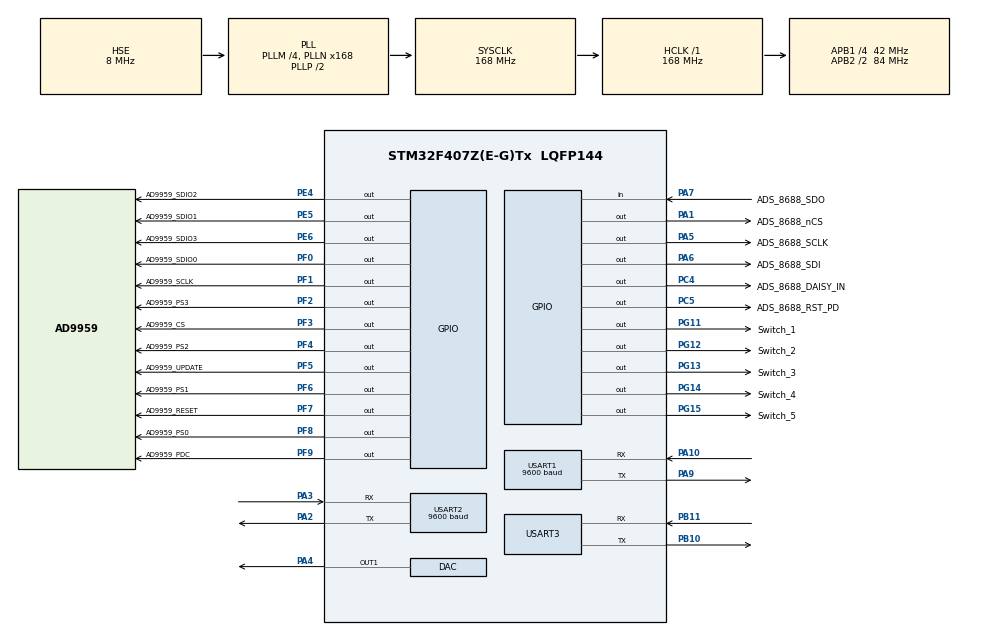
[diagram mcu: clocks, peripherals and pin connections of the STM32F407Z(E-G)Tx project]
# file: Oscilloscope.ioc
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DAC.DAC_OutputBuffer=DAC_OUTPUTBUFFER_DISABLE
Mcu.Family=STM32F4
Mcu.Name=STM32F407Z(E-G)Tx
Mcu.Package=LQFP144
NVIC.PriorityGroup=NVIC_PRIORITYGROUP_4
NVIC.TIM4_IRQn=true\:0\:0\:false\:false\:true\:true\:true\:true
NVIC.USART2_IRQn=true\:0\:0\:false\:false\:true\:true\:true\:true
PA1.GPIO_Label=ADS_8688_nCS
PA1.Signal=GPIO_Output
PA10.Mode=Asynchronous
PA10.Signal=USART1_RX
PA13.Mode=Serial_Wire
PA13.Signal=SYS_JTMS-SWDIO
PA14.Mode=Serial_Wire
PA14.Signal=SYS_JTCK-SWCLK
PA2.Mode=Asynchronous
PA2.Signal=USART2_TX
PA3.Mode=Asynchronous
PA3.Signal=USART2_RX
PA4.Signal=COMP_DAC1_group
PA5.GPIO_Label=ADS_8688_SCLK
PA5.Signal=GPIO_Output
PA6.GPIO_Label=ADS_8688_SDI
PA6.Signal=GPIO_Output
PA7.GPIO_Label=ADS_8688_SDO
PA7.Signal=GPIO_Input
PA9.Mode=Asynchronous
PA9.Signal=USART1_TX
PB10.Mode=Asynchronous
PB10.Signal=USART3_TX
PB11.Mode=Asynchronous
PB11.Signal=USART3_RX
PC14-OSC32_IN.Mode=LSE-External-Oscillator
PC14-OSC32_IN.Signal=RCC_OSC32_IN
PC15-OSC32_OUT.Mode=LSE-External-Oscillator
PC15-OSC32_OUT.Signal=RCC_OSC32_OUT
PC4.GPIO_Label=ADS_8688_DAISY_IN
PC4.Signal=GPIO_Output
PC5.GPIO_Label=ADS_8688_RST_PD
PC5.Signal=GPIO_Output
PE4.GPIO_Label=AD9959_SDIO2
PE4.GPIO_Speed=GPIO_SPEED_FREQ_HIGH
PE4.PinState=GPIO_PIN_SET
PE4.Signal=GPIO_Output
PE5.GPIO_Label=AD9959_SDIO1
PE5.GPIO_Speed=GPIO_SPEED_FREQ_HIGH
PE5.Signal=GPIO_Output
PE6.GPIO_Label=AD9959_SDIO3
PE6.GPIO_Speed=GPIO_SPEED_FREQ_HIGH
PE6.Signal=GPIO_Output
PF0.GPIO_Label=AD9959_SDIO0
PF0.GPIO_Speed=GPIO_SPEED_FREQ_HIGH
PF0.Signal=GPIO_Output
PF1.GPIO_Label=AD9959_SCLK
PF1.GPIO_Speed=GPIO_SPEED_FREQ_HIGH
PF1.Signal=GPIO_Output
PF2.GPIO_Label=AD9959_PS3
PF2.GPIO_Speed=GPIO_SPEED_FREQ_HIGH
PF2.Signal=GPIO_Output
PF3.GPIO_Label=AD9959_CS
PF3.GPIO_Speed=GPIO_SPEED_FREQ_HIGH
PF3.Signal=GPIO_Output
PF4.GPIO_Label=AD9959_PS2
PF4.GPIO_Speed=GPIO_SPEED_FREQ_HIGH
PF4.Signal=GPIO_Output
PF5.GPIO_Label=AD9959_UPDATE
PF5.GPIO_Speed=GPIO_SPEED_FREQ_HIGH
PF5.Signal=GPIO_Output
PF6.GPIO_Label=AD9959_PS1
PF6.GPIO_Speed=GPIO_SPEED_FREQ_HIGH
PF6.Signal=GPIO_Output
PF7.GPIO_Label=AD9959_RESET
PF7.GPIO_Speed=GPIO_SPEED_FREQ_HIGH
PF7.Signal=GPIO_Output
PF8.GPIO_Label=AD9959_PS0
PF8.GPIO_Speed=GPIO_SPEED_FREQ_HIGH
PF8.Signal=GPIO_Output
PF9.GPIO_Label=AD9959_PDC
PF9.GPIO_Speed=GPIO_SPEED_FREQ_HIGH
PF9.Signal=GPIO_Output
PG11.GPIO_Label=Switch_1
PG11.PinState=GPIO_PIN_SET
PG11.Signal=GPIO_Output
PG12.GPIO_Label=Switch_2
PG12.PinState=GPIO_PIN_RESET
PG12.Signal=GPIO_Output
PG13.GPIO_Label=Switch_3
PG13.PinState=GPIO_PIN_SET
PG13.Signal=GPIO_Output
PG14.GPIO_Label=Switch_4
PG14.Signal=GPIO_Output
PG15.GPIO_Label=Switch_5
PG15.Signal=GPIO_Output
PH0-OSC_IN.Mode=HSE-External-Oscillator
PH0-OSC_IN.Signal=RCC_OSC_IN
PH1-OSC_OUT.Mode=HSE-External-Oscillator
PH1-OSC_OUT.Signal=RCC_OSC_OUT
ProjectManager.HeapSize=0x200
ProjectManager.StackSize=0x400
ProjectManager.TargetToolchain=MDK-ARM V5.32
RCC.48MHZClocksFreq_Value=84000000
RCC.AHBFreq_Value=168000000
RCC.APB1CLKDivider=RCC_HCLK_DIV4
RCC.APB1Freq_Value=42000000
RCC.APB1TimFreq_Value=84000000
RCC.APB2CLKDivider=RCC_HCLK_DIV2
RCC.APB2Freq_Value=84000000
RCC.APB2TimFreq_Value=168000000
RCC.CortexFreq_Value=168000000
RCC.HCLKFreq_Value=168000000
RCC.HSE_VALUE=8000000
RCC.HSI_VALUE=16000000
RCC.PLLM=4
RCC.PLLN=168
RCC.PLLSourceVirtual=RCC_PLLSOURCE_HSE
RCC.SYSCLKFreq_VALUE=168000000
RCC.SYSCLKSource=RCC_SYSCLKSOURCE_PLLCLK
RCC.VCOOutputFreq_Value=336000000
SH.COMP_DAC1_group.0=DAC_OUT1,DAC_OUT1
STMicroelectronics.X-CUBE-ALGOBUILD.1.3.0.LibraryCcDSPOoLibraryJjDSPOoLibrary=true
TIM4.AutoReloadPreload=TIM_AUTORELOAD_PRELOAD_ENABLE
TIM4.Period=100-1
TIM4.Prescaler=82-1
USART1.BaudRate=9600
USART1.Mode=MODE_TX
USART1.VirtualMode=VM_ASYNC
USART2.BaudRate=9600
USART2.Mode=MODE_RX
USART2.VirtualMode=VM_ASYNC
USART3.VirtualMode=VM_ASYNC
VP_STMicroelectronics.X-CUBE-ALGOBUILD_VS_DSPOoLibraryJjLibrary_1.3.0_1.3.0.Mode=DSPOoLibraryJjLibrary
VP_TIM4_VS_ClockSourceINT.Mode=Internal
board=custom

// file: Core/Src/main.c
/* USER CODE BEGIN Header */
/**
  ******************************************************************************
  * @file           : main.c
  * @brief          : Main program body
  ******************************************************************************
  * @attention
  *
  * Copyright (c) 2022 STMicroelectronics.
  * All rights reserved.
  *
  * This software is licensed under terms that can be found in the LICENSE file
  * in the root directory of this software component.
  * If no LICENSE file comes with this software, it is provided AS-IS.
  *
  ******************************************************************************
  */
/* USER CODE END Header */
#include "main.h"
#include "dac.h"
#include "tim.h"
#include "usart.h"
#include "gpio.h"

/* USER CODE BEGIN Includes */
#include "arm_math.h"
#include "Filter.h"
#include "ADS8688.H"
#include "head_define.h"
#include "hmi_driver.h"
#include "hmi_user_uart.h"
#include "cmd_queue.h"
#include "cmd_process.h"
#include "stdio.h"
#include "base.h"
#include "Wifi.h"
#include "MAX262.h"
#include "AD9959.h"
/* USER CODE END Includes */

/* USER CODE BEGIN PV */
float sweep_points[21] = {0,};
float
AD_arr[2][AD_N],
*pAD_arr,*pAD_arr_end,

FFT_result[2][AD_N],
FFT_INPUT[AD_N],
AD_arr_c[2][AD_N*2]={0,},
*pAD_arr_c,*pAD_arr_c_end,
FFT_result_c[2][AD_N];
u16 ad_result[8];
u8 dataGraph[AD_N],
*pDataGraph;

extern my_Filter my_Filter1;

enum Sample_Rate{  //采样率
K200 = 200000,K400 = 400000,K800 = 800000,K1000 = 1000000

};

enum Sample_State{ //采样状态
OK=1,NO = !OK
};

u32 ctrl_dac[7] = {265,400,548,690,845,1041,1900};	//控制放大器增益

float hp_arr[50]=
{
0.088,0.176,0.267,0.348,0.440,0.530,0.620,0.710,0.800,0.880,0.990,1.07,1.15,1.25,1.35,1.45,1.55,1.58,1.68,1.80,1.91,1.98,2.03,2.11,2.21,2.30,\
2.45,2.50,2.65,2.75,2.85,2.95,3.05,3.15,3.25,3.35,3.45,3.55,3.56,3.75,3.85,3.95,4.05,4.15,4.23,4.45,4.55,4.65,4.78,4.88	};  //高通数组
/* USER CODE END PV */

void SystemClock_Config(void);
/* USER CODE BEGIN PFP */

void getAD_allch(float*result){
	Get_AUTO_RST_Mode_Data((uint16_t*)ad_result,8);  //两个通道
	*result=(ad_result[0]-ADS8688_ZERO)*AD_mV_Scale;
	result+=AD_N;
	*result=(ad_result[1]-ADS8688_ZERO)*AD_mV_Scale;
//	result+=AD_N;
}

void AD_arr_Init(){
	pAD_arr=AD_arr[0];pAD_arr_end=AD_arr[0]+AD_N;
	memset(AD_arr[0],0,AD_N);
	memset(AD_arr[1],0,AD_N);
}

float get_AD_result(){
	float rms;
	AD_arr_Init();
	getAD_allch(pAD_arr);
	HAL_TIM_Base_Start_IT(&htim4);
	while(pAD_arr!=pAD_arr_end){}
	HAL_TIM_Base_Stop_IT(&htim4);
	arm_mean_f32(AD_arr[0],21,&rms);
	return rms;
}

void Sweep_Freq(void)
{
	u16 i,times;
	times=(sweepfreq.end-sweepfreq.start)/sweepfreq.step+1;  //扫频点数
//	Out_freq(0,fre,1000);
	for(i=0;i<times;i++)
	{
        Out_freq(0,sweepfreq.start+(sweepfreq.step*i),800);  //输出最大530vpp
		sweep_points[i] = get_AD_result(); //采样
	//	Wifi_Send(sweep_points[i]);
	}
}

void ctrl_amplifier() //程控放大器
{
	HAL_DAC_Start(&hdac,DAC_CHANNEL_1);
	HAL_DAC_SetValue(&hdac,DAC_CHANNEL_1,DAC_ALIGN_12B_R,ctrl_dac[my_Filter1.amp_dB]);

}

void calSysPara()  //计算电路参数
{
	float max_temp,resolu,freq;
	float funWave,har_2,har_3,har_4,har_5;
	u32	max_idex;
	calc_FFT(AD_arr[0],FFT_result[0]);
	my_Filter1.resolution_fre = my_Filter1.sample_rate / my_Filter1.show_points;  	//计算分辨率
	arm_max_f32(FFT_result[0],AD_N,&max_temp,&max_idex);  	//找最大值
	freq = max_idex *resolu;
	my_Filter1.cur_fre = freq;		//当前频率
	funWave = FFT_result[0][max_idex];		//基波
	har_2 = pow((double)FFT_result[0][max_idex * 2],2); 	//二次谐波
	har_3 = pow((double)FFT_result[0][max_idex * 3],2); 	//三次谐波
	har_4 = pow((double)FFT_result[0][max_idex * 4],2); 	//四次谐波
	har_5 = pow((double)FFT_result[0][max_idex * 5],2); 	//五次谐波
	my_Filter1.THD = sqrt(har_2+har_3+har_4+har_5) / funWave;

}
void Filter_Init(void)
{
	my_Filter1.Mode = Normal;
	my_Filter1.sample_rate = K200;  	//初始采样率200k
	my_Filter1.cur_fre = 0; 		//获取到的当前频率
	my_Filter1.show_points = AD_N;  	//初始点数
	my_Filter1.cutoff_fre = 1000;  	//初始截止频率1k
	my_Filter1.filterKind = LP;  	//滤波器类型默认低通
	my_Filter1.THD = 0; 	//总谐波失真初始为0
	sweepfreq.start = 100;  	//扫频开始为100Hz
	sweepfreq.end = 200100;  	//扫频结束200100
	sweepfreq.step = 10000;		//步进10k
	sweepfreq.time = 100;		//每个点持续时间
	GraphChannelDataClear(1,3,0);
}

void setCutoff() 		//切换截止频率
{
	if(my_Filter1.filterKind == LP)
		Out_freq(1, my_Filter1.cutoff_fre * 115,500);		//输出时钟
	else if(my_Filter1.filterKind == HP &&my_Filter1.cutoff_fre/1000 <= 50)
		Out_freq(1, hp_arr[my_Filter1.cutoff_fre/1000 - 1]* 1000000,500);//hp_arr[my_Filter1.cutoff_fre/1000 - 1]
}
void showGraph()
{

	float32_t max,sweep_N;
	sweep_N = AD_N; 	//
	u32 useless;
	arm_max_f32(sweep_points,sweep_N,&max,&useless);
	if(max<1)max = 1;
	arm_scale_f32(sweep_points, 255.0f/max,sweep_points,sweep_N);//归一化
	pDataGraph = dataGraph; pAD_arr = sweep_points;

	for(int i=0;i<sweep_N;i++)
		*pDataGraph++ = *pAD_arr++;  //float->u8
//	if(my_Filter1.filterKind == LP)
//		dataGraph[0] = dataGraph[1] * 0.96;
//	else if(my_Filter1.filterKind == HP)
//		dataGraph[0] = 0;
	GraphChannelDataClear(1,3,0);
	GraphChannelDataAdd(1,3,0,dataGraph,sweep_N);

}

void Signal_or_Sweep()  //开关1切换信号源和扫频，低电平有效
{
	if(my_Filter1.Mode == Sweep)
		HAL_GPIO_WritePin(Switch_1_GPIO_Port,Switch_1_Pin,GPIO_PIN_SET) ; //高电平切换9959，扫频
	else
		HAL_GPIO_WritePin(Switch_1_GPIO_Port,Switch_1_Pin,GPIO_PIN_RESET) ;
}

void Test_or_Next() //开关2默认测试，高电平接到后级电路
{
	if(my_Filter1.filterKind != Amp)
		HAL_GPIO_WritePin(Switch_2_GPIO_Port,Switch_2_Pin,GPIO_PIN_SET) ; //高电平切换到后级
	else
		HAL_GPIO_WritePin(Switch_2_GPIO_Port,Switch_2_Pin,GPIO_PIN_RESET) ;
}

void setFilterMode() //开关3切换滤波类型，椭圆or高低通，高电平触发
{
	if(my_Filter1.filterKind == HP || my_Filter1.filterKind == LP)
		HAL_GPIO_WritePin(Switch_3_GPIO_Port,Switch_3_Pin,GPIO_PIN_SET) ; //低电平换到高低通模式
	else if(my_Filter1.filterKind ==ELL) //椭圆
		HAL_GPIO_WritePin(Switch_3_GPIO_Port,Switch_3_Pin,GPIO_PIN_RESET);

}

void Lp_or_Hp()		//开关4切换高通或低通，默认低电平高通
{
	if(my_Filter1.filterKind == LP)
		HAL_GPIO_WritePin(Switch_4_GPIO_Port,Switch_4_Pin,GPIO_PIN_SET) ; //高电平切换到低通
	else if(my_Filter1.filterKind == HP)
		HAL_GPIO_WritePin(Switch_4_GPIO_Port,Switch_4_Pin,GPIO_PIN_RESET) ; //高电平切换到后级

}

void Out_LpHp_or_epl() //开关5切换输出类型，高电平为椭圆滤波器输出
{
	if(my_Filter1.filterKind == ELL)
		HAL_GPIO_WritePin(Switch_5_GPIO_Port,Switch_5_Pin,GPIO_PIN_SET) ;
	else
		HAL_GPIO_WritePin(Switch_5_GPIO_Port,Switch_5_Pin,GPIO_PIN_RESET) ;

}
void softReset()  //软件复位
{
		HAL_NVIC_SystemReset();
}
/* USER CODE END PFP */

int main(void)
{

  /* MCU Configuration--------------------------------------------------------*/

  /* Reset of all peripherals, Initializes the Flash interface and the Systick. */
  HAL_Init();

  /* Configure the system clock */
  SystemClock_Config();

  /* Initialize all configured peripherals */
  MX_GPIO_Init();
  MX_USART1_UART_Init();
  MX_USART2_UART_Init();
  MX_USART3_UART_Init();
  MX_TIM4_Init();
  MX_DAC_Init();
  /* USER CODE BEGIN 2 */
  delay_init(168);
  Init_AD9959();		//9959初始化
  ADS8688_Init_Mult();
  Filter_Init();    //参数初始化
  TFT_Init();		//大彩屏初始化
//	Wifi_Connect();	//wifi初始化
	bee();
  /* USER CODE END 2 */

  /* Infinite loop */
while (1)
  {

    /* USER CODE BEGIN 3 */
	  switch(my_Filter1.Mode)
	  {
		  case Normal:  	//放大/滤波模式
		  {
			  if(my_Filter1.filterKind == Amp) 		//放大模式
			  {
				    ctrl_amplifier();
					Signal_or_Sweep();		//开关1
					Test_or_Next();  		//开关2
			  }
			  else  			//滤波
			  {
					setCutoff();
					Signal_or_Sweep();		//开关1
					Test_or_Next();  		//开关2
					setFilterMode();  		//开关3
					Lp_or_Hp(); 			//开关4
					Out_LpHp_or_epl();		//开关5
				  }

		   }break;
		  case Sweep:		//扫频
		  {
					Signal_or_Sweep();		//开关1
					Test_or_Next();  		//开关2
					setFilterMode();  		//开关3
					Lp_or_Hp(); 			//开关4
					Out_LpHp_or_epl();		//开关5
			  		Sweep_Freq();			//扫频输出
					showGraph();			//绘制曲线
			//GraphChannelDataAdd(2,3,0,test,21);
			}break;
		  case sysReset:
			  softReset();break;

	  }

	//  delay_ms(100);

  }
  /* USER CODE END 3 */
}

void SystemClock_Config(void)
{
  RCC_OscInitTypeDef RCC_OscInitStruct = {0};
  RCC_ClkInitTypeDef RCC_ClkInitStruct = {0};

  /** Configure the main internal regulator output voltage
  */
  __HAL_RCC_PWR_CLK_ENABLE();
  __HAL_PWR_VOLTAGESCALING_CONFIG(PWR_REGULATOR_VOLTAGE_SCALE1);

  /** Initializes the RCC Oscillators according to the specified parameters
  * in the RCC_OscInitTypeDef structure.
  */
  RCC_OscInitStruct.OscillatorType = RCC_OSCILLATORTYPE_HSE;
  RCC_OscInitStruct.HSEState = RCC_HSE_ON;
  RCC_OscInitStruct.PLL.PLLState = RCC_PLL_ON;
  RCC_OscInitStruct.PLL.PLLSource = RCC_PLLSOURCE_HSE;
  RCC_OscInitStruct.PLL.PLLM = 4;
  RCC_OscInitStruct.PLL.PLLN = 168;
  RCC_OscInitStruct.PLL.PLLP = RCC_PLLP_DIV2;
  RCC_OscInitStruct.PLL.PLLQ = 4;
  if (HAL_RCC_OscConfig(&RCC_OscInitStruct) != HAL_OK)
  {
    Error_Handler();
  }

  /** Initializes the CPU, AHB and APB buses clocks
  */
  RCC_ClkInitStruct.ClockType = RCC_CLOCKTYPE_HCLK|RCC_CLOCKTYPE_SYSCLK
                              |RCC_CLOCKTYPE_PCLK1|RCC_CLOCKTYPE_PCLK2;
  RCC_ClkInitStruct.SYSCLKSource = RCC_SYSCLKSOURCE_PLLCLK;
  RCC_ClkInitStruct.AHBCLKDivider = RCC_SYSCLK_DIV1;
  RCC_ClkInitStruct.APB1CLKDivider = RCC_HCLK_DIV4;
  RCC_ClkInitStruct.APB2CLKDivider = RCC_HCLK_DIV2;

  if (HAL_RCC_ClockConfig(&RCC_ClkInitStruct, FLASH_LATENCY_5) != HAL_OK)
  {
    Error_Handler();
  }
}

/* USER CODE BEGIN 4 */
void HAL_TIM_PeriodElapsedCallback(TIM_HandleTypeDef *htim){
	if(htim == &htim4){
		if(pAD_arr < pAD_arr_end){
         getAD_allch(pAD_arr++);
    }
	}
}
//void HAL_TIM_PeriodElapsedCallback(TIM_HandleTypeDef *htim){
//	if(htim == &htim4)
//		{

//
//		{
//    }
//}
//}
		//}
/* USER CODE END 4 */

void Error_Handler(void)
{
  __disable_irq();
  while (1)
  {
  }
}
